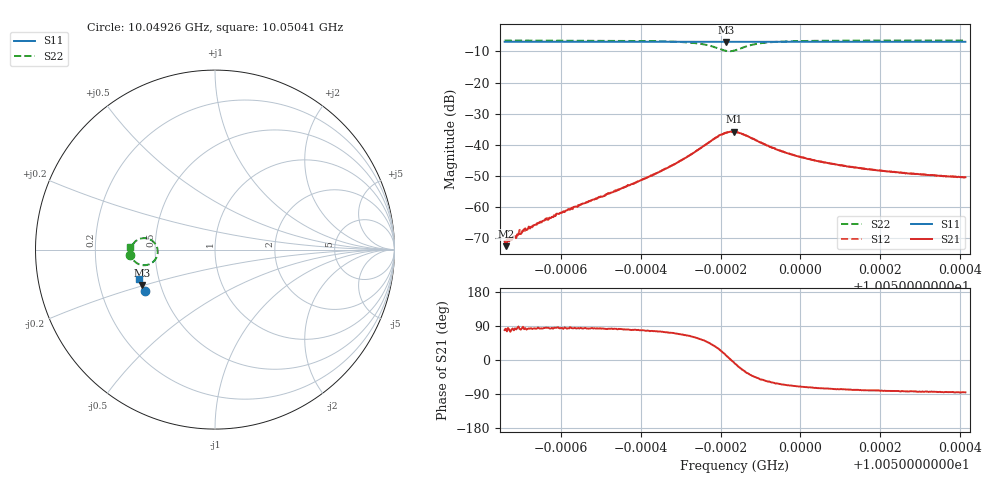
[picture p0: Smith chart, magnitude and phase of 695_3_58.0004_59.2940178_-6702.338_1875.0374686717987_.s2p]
#  HZ  S  RI  R  50.00
! Rohde & Schwarz Vector Network Analyzer
! Rohde-Schwarz,ZNB20-2Port,1311601062101988,3.16
! Created: UTC 3/21/2024, 1:21:26 AM
! freq[Hz]  re:S11  im:S11  re:S21  im:S21  re:S12  im:S12  re:S22  im:S22
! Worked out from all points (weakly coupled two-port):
!   401 points, 10.04926 GHz to 10.05041 GHz, reference 50 ohm
!   highest |S21| = -35.81 dB at 10.04983 GHz (marker M1); lowest = -72.7 dB at 10.04926 GHz (marker M2)
!   lowest |S11| = -6.9 dB at 10.04981 GHz (marker M3), VSWR 2.65, Z = 19.8 - j9.89 ohm
!   |S11| at or under -10 dB: nowhere
!   |S22| runs from -9.9 to -6.5 dB; largest |S21 - S12| = 0.0011
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1.004926e10  -0.3903 -0.2325  5.25e-05 0.000274  8.21e-06 0.000244  -0.4738 -0.0298
1.0049262e10  -0.3903 -0.2324  3e-05 0.00023  2.97e-05 0.000273  -0.4737 -0.0299
1.0049268e10  -0.3907 -0.2321  2.91e-05 0.000303  3.13e-05 0.000288  -0.4738 -0.0293
1.0049309e10  -0.392 -0.2297  6.58e-05 0.000431  3.24e-05 0.000412  -0.4737 -0.0254
1.004932e10  -0.3923 -0.229  5.65e-05 0.000474  4.08e-05 0.000477  -0.4736 -0.0243
1.0049395e10  -0.3948 -0.2247  7.01e-05 0.000762  2.14e-05 0.000784  -0.4732 -0.0164
1.0049453e10  -0.3965 -0.2212  0.000123 0.00111  5.93e-05 0.0011  -0.4724 -0.00942
1.0049507e10  -0.3981 -0.218  0.000192 0.00147  0.000118 0.00151  -0.4709 -0.00201
1.0049646e10  -0.4022 -0.2096  0.000937 0.0035  0.000747 0.00357  -0.4608 0.0255
1.0049689e10  -0.4032 -0.2069  0.00173 0.00471  0.00148 0.00486  -0.451 0.0389
1.0049747e10  -0.4046 -0.2033  0.00478 0.00703  0.00439 0.00729  -0.4179 0.0603
1.0049784e10  -0.4052 -0.2008  0.00992 0.00759  0.00954 0.008  -0.3676 0.0591
1.0049813e10  -0.4053 -0.1993  0.0152 0.00345  0.0148 0.00438  -0.3237 0.0149
1.0049833e10  -0.4056 -0.1988  0.0161 -0.00177  0.0159 -0.000861  -0.3234 -0.037
1.0049836e10  -0.4057 -0.1987  0.0158 -0.00274  0.0159 -0.00172  -0.3262 -0.0438
1.0049865e10  -0.4067 -0.1976  0.0116 -0.00775  0.0122 -0.00674  -0.373 -0.0839
1.0049905e10  -0.4086 -0.1954  0.00642 -0.00826  0.00687 -0.008  -0.4255 -0.0807
1.004996e10  -0.4103 -0.1921  0.00316 -0.00686  0.00358 -0.0067  -0.4543 -0.0588
1.0050029e10  -0.4123 -0.1876  0.00168 -0.00542  0.00201 -0.00534  -0.4667 -0.0382
1.0050122e10  -0.4146 -0.1821  0.000902 -0.00432  0.00115 -0.0043  -0.472 -0.0203
1.0050222e10  -0.4172 -0.1758  0.00054 -0.00367  0.000773 -0.00363  -0.4743 -0.00629
1.0050413e10  -0.4216 -0.1642  0.000242 -0.00298  0.000414 -0.00296  -0.475 0.0132
